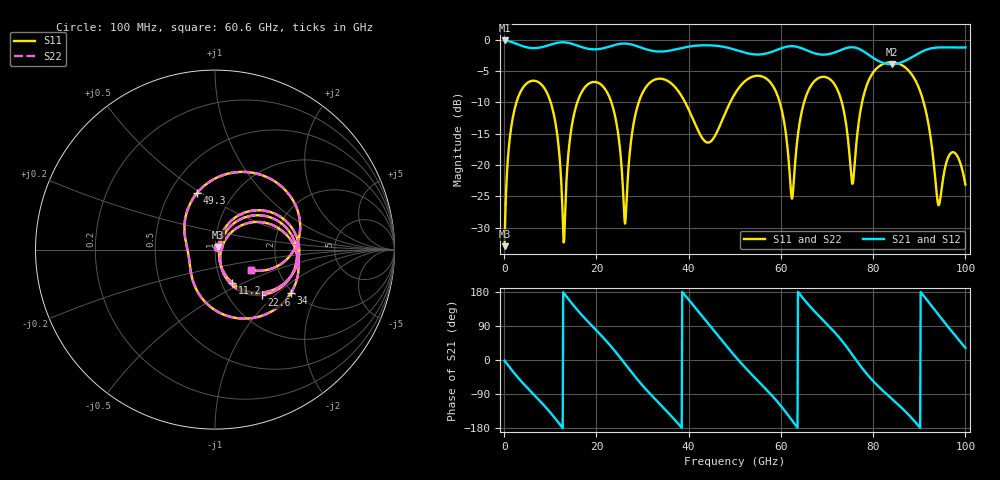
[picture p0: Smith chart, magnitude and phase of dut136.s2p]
! Touchstone file exported from HFSS 2026.1.0
!  File:  C:/ffzhzh/LocalFiles/Ansys_Project_Files/temp_train_TSV_RDL_136_1783640928_33328.aedt
!  Generated:  08:27:25 AM Jul 10, 2026
!  Design:  TSV_RDL
!  Project:  temp_train_TSV_RDL_136_1783640928_33328
! Variables:
!  h_bsmrdl = 4.73um
!  h_ox = 20um
!  h_rdl = 5um
!  h_sub = 67.49um
!  h_tmrdl = 4.42um
!  h_tsv = 67.49um
!  h_via = 3um
!  l_bsmrdl = 576.05um
!  l_sub = 4959.59um
!  l_tmrdl = 670.36um
!  m_sub = 200um
!  pitch = 47.12um
!  r_tsv = 5.34um
!  s_tmrdl = 10um
!  w_bsmrdl = 20.69um
!  w_sub = 500um
!  w_tmrdl = 29.31um
!  x_tsv_center1 = 685.015um
!  x_tsv_center2 = 1281.755um
!  x_tsv_center3 = 1981.425um
!  x_tsv_center4 = 2578.165um
!  x_tsv_center5 = 3277.835um
!  x_tsv_center6 = 3874.575um
# GHz S MA R 50.000000
! Terminal data exported
! Port[1] = TM_RDL1_1_T1
! Port[2] = TM_RDL5_1_T1
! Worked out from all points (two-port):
!   1000 points, 100 MHz to 100 GHz, reference 50 ohm
!   highest |S21| = -0.15 dB at 100 MHz (marker M1); lowest = -4.0 dB at 84 GHz (marker M2)
!   |S21| within 3 dB of the highest: start of sweep to 80.5 GHz; 87.61 GHz to end of sweep
!   lowest |S11| = -33.0 dB at 100 MHz (marker M3), VSWR 1.05, Z = 51.7 + j1.52 ohm
!   |S11| at or under -10 dB: 23.23 GHz to 29.18 GHz (5.951 GHz wide, 22.7 % of centre); 39.22 GHz to 49.02 GHz (9.801 GHz wide, 22.2 % of centre); 90.94 GHz to end of sweep (the widest 3 of 7)
!   |S22| runs from -33.0 to -3.6 dB; largest |S21 - S12| = 8.9e-12
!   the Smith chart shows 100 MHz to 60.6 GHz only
!   S11 on the Smith chart (normalised r, x): 100 MHz: 1.03, +0.03; 11.2 GHz: 1.12, -0.43; 22.6 GHz: 1.42, -0.82; 34 GHz: 1.95, -1.23; 49.3 GHz: 0.68, +0.48; 60.6 GHz: 1.46, -0.35
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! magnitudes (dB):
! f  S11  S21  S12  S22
! 100 MHz  -33.0  -0.1  -0.1  -33.0
! 3.7 GHz  -8.1  -1.0  -1.0  -8.1
! 11.2 GHz  -13.6  -0.6  -0.6  -13.6
! 13 GHz  -32.1  -0.4  -0.4  -32.1
! 16.8 GHz  -8.4  -1.2  -1.2  -8.4
! 22.6 GHz  -8.8  -1.2  -1.2  -8.8
! 26.2 GHz  -29.4  -0.6  -0.6  -29.3
! 28.8 GHz  -10.9  -1.1  -1.1  -10.9
! 33.4 GHz  -6.3  -1.9  -1.9  -6.3
! 34 GHz  -6.2  -1.9  -1.9  -6.2
! 49.3 GHz  -9.6  -1.5  -1.5  -9.6
! 50.1 GHz  -8.6  -1.6  -1.6  -8.6
! 60.6 GHz  -12.7  -1.3  -1.3  -12.7
! 62.5 GHz  -25.2  -1.1  -1.1  -25.2
! 66.7 GHz  -7.2  -2.0  -2.0  -7.2
! 72.3 GHz  -8.1  -1.9  -1.9  -8.1
! 75.5 GHz  -23.0  -1.2  -1.2  -22.9
! 83.4 GHz  -3.6  -3.9  -3.9  -3.6
! 84 GHz  -3.6  -4.0  -4.0  -3.6
! 90.3 GHz  -8.5  -2.0  -2.0  -8.5
! 94.2 GHz  -26.4  -1.3  -1.3  -26.6
! 100 GHz  -23.1  -1.3  -1.3  -23.1
